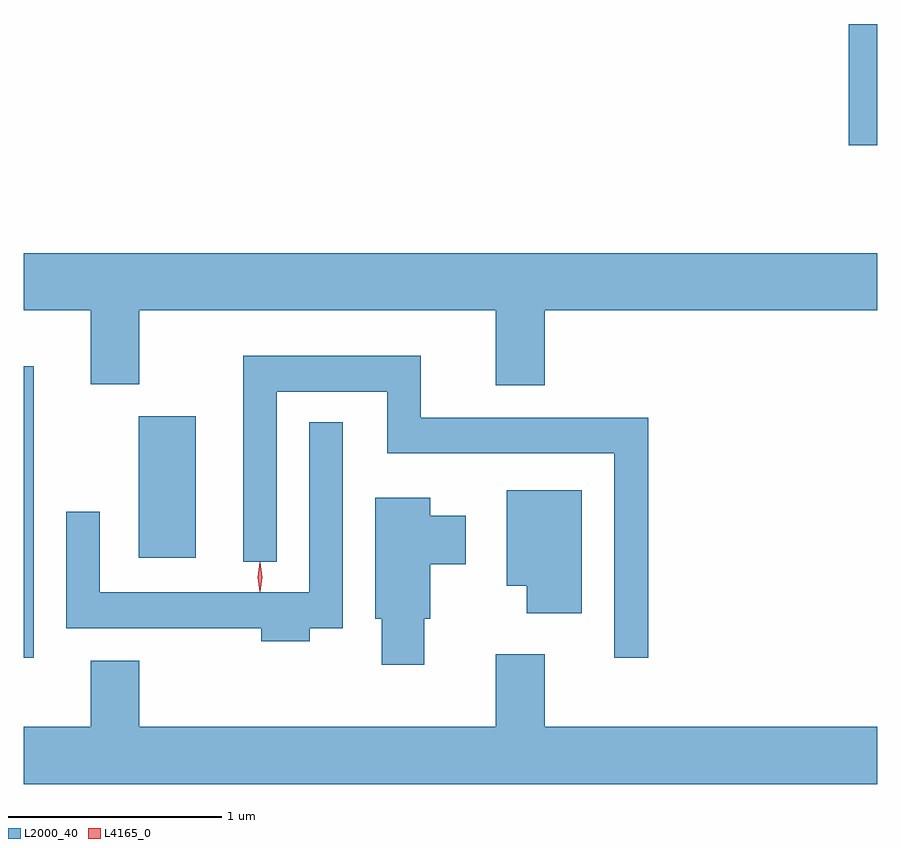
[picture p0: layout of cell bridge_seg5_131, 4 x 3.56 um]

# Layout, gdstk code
import gdstk
lib = gdstk.Library(unit=1e-6, precision=1e-09)
def R(c, l, rs):  # rectangles x0, y0, x1, y1
    for r in rs: c.add(gdstk.rectangle(r[:2], r[2:], *l))
def P(c, l, *ps):  # polygons
    for p in ps: c.add(gdstk.Polygon(p, *l))
L2000_40 = (2000, 40)
L4165_0 = (4165, 0)

bridge_seg5_131 = lib.new_cell('bridge_seg5_131')
R(bridge_seg5_131, L2000_40, [(1216.318,1419.648,1216.364,1421.014), (1216.856,1420.116,1217.124,1420.779), (1220.186,1422.051,1220.318,1422.619)])
P(bridge_seg5_131, L2000_40, [(1218.759,1421.276),(1220.318,1421.276),(1220.318,1421.544),(1216.318,1421.544),(1216.318,1421.276),(1216.631,1421.276),(1216.631,1420.931),(1216.859,1420.931),(1216.859,1421.276),(1218.531,1421.276),(1218.531,1420.926),(1218.759,1420.926)],
  [(1219.244,1420.774),(1218.179,1420.774),(1218.179,1421.064),(1217.346,1421.064),(1217.346,1420.098),(1217.504,1420.098),(1217.504,1420.896),(1218.021,1420.896),(1218.021,1420.606),(1219.086,1420.606),(1219.086,1419.648),(1219.244,1419.648)],
  [(1217.659,1419.786),(1217.814,1419.786),(1217.814,1420.753),(1217.656,1420.753),(1217.656,1419.954),(1216.674,1419.954),(1216.674,1420.333),(1216.516,1420.333),(1216.516,1419.786),(1217.431,1419.786),(1217.431,1419.726),(1217.659,1419.726)],
  [(1218.934,1420.434),(1218.581,1420.434),(1218.581,1419.986),(1218.676,1419.986),(1218.676,1419.856),(1218.934,1419.856)],
  [(1218.194,1419.831),(1218.224,1419.831),(1218.224,1420.086),(1218.389,1420.086),(1218.389,1420.314),(1218.224,1420.314),(1218.224,1420.399),(1217.966,1420.399),(1217.966,1419.831),(1217.996,1419.831),(1217.996,1419.616),(1218.194,1419.616)],
  [(1220.318,1419.324),(1218.759,1419.324),(1218.759,1419.664),(1218.531,1419.664),(1218.531,1419.324),(1216.859,1419.324),(1216.859,1419.634),(1216.631,1419.634),(1216.631,1419.324),(1216.318,1419.324),(1216.318,1419.056),(1220.318,1419.056)])
P(bridge_seg5_131, L4165_0, [(1217.425,1419.959),(1217.424,1419.96),(1217.415,1420.026),(1217.424,1420.092),(1217.425,1420.093),(1217.425,1420.092),(1217.435,1420.026),(1217.425,1419.96)],
  [(1217.424,1419.957),(1217.415,1420.026),(1217.424,1420.096),(1217.425,1420.096),(1217.426,1420.096),(1217.435,1420.026),(1217.426,1419.957),(1217.425,1419.957)])

lib.write_gds('bridge_seg5_131.gds')
